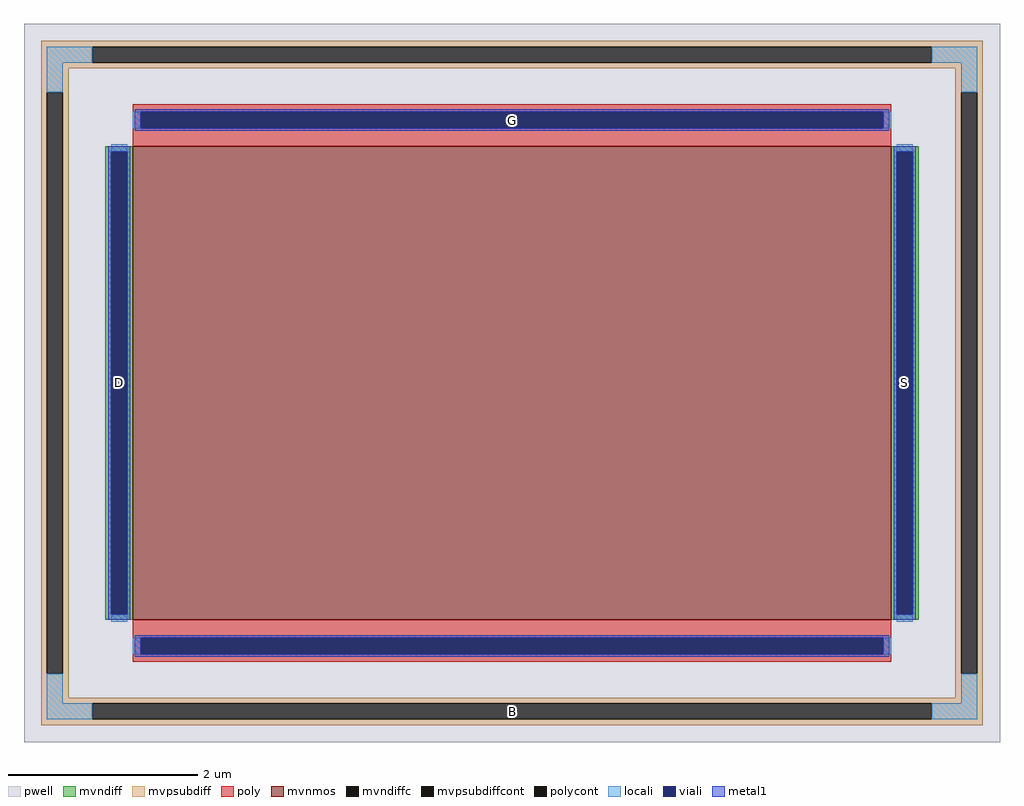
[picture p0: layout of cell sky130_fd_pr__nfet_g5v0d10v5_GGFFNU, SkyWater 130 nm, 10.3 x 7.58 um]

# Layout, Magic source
magic
tech sky130A
magscale 1 2
<< pwell >>
rect -1030 -758 1030 758
<< mvnmos >>
rect -800 -500 800 500
<< mvndiff >>
rect -858 488 -800 500
rect -858 -488 -846 488
rect -812 -488 -800 488
rect -858 -500 -800 -488
rect 800 488 858 500
rect 800 -488 812 488
rect 846 -488 858 488
rect 800 -500 858 -488
<< mvndiffc >>
rect -846 -488 -812 488
rect 812 -488 846 488
<< mvpsubdiff >>
rect -994 710 994 722
rect -994 676 -886 710
rect 886 676 994 710
rect -994 664 994 676
rect -994 614 -936 664
rect -994 -614 -982 614
rect -948 -614 -936 614
rect 936 614 994 664
rect -994 -664 -936 -614
rect 936 -614 948 614
rect 982 -614 994 614
rect 936 -664 994 -614
rect -994 -676 994 -664
rect -994 -710 -886 -676
rect 886 -710 994 -676
rect -994 -722 994 -710
<< mvpsubdiffcont >>
rect -886 676 886 710
rect -982 -614 -948 614
rect 948 -614 982 614
rect -886 -710 886 -676
<< poly >>
rect -800 572 800 588
rect -800 538 -784 572
rect 784 538 800 572
rect -800 500 800 538
rect -800 -538 800 -500
rect -800 -572 -784 -538
rect 784 -572 800 -538
rect -800 -588 800 -572
<< polycont >>
rect -784 538 784 572
rect -784 -572 784 -538
<< locali >>
rect -982 676 -886 710
rect 886 676 982 710
rect -982 614 -948 676
rect 948 614 982 676
rect -800 538 -784 572
rect 784 538 800 572
rect -846 488 -812 504
rect -846 -504 -812 -488
rect 812 488 846 504
rect 812 -504 846 -488
rect -800 -572 -784 -538
rect 784 -572 800 -538
rect -982 -676 -948 -614
rect 948 -676 982 -614
rect -982 -710 -886 -676
rect 886 -710 982 -676
<< viali >>
rect -784 538 784 572
rect -846 -488 -812 488
rect 812 -488 846 488
rect -784 -572 784 -538
<< metal1 >>
rect -796 572 796 578
rect -796 538 -784 572
rect 784 538 796 572
rect -796 532 796 538
rect -852 488 -806 500
rect -852 -488 -846 488
rect -812 -488 -806 488
rect -852 -500 -806 -488
rect 806 488 852 500
rect 806 -488 812 488
rect 846 -488 852 488
rect 806 -500 852 -488
rect -796 -538 796 -532
rect -796 -572 -784 -538
rect 784 -572 796 -538
rect -796 -578 796 -572
<< labels >>
rlabel mvpsubdiffcont 0 -693 0 -693 0 B
port 1 nsew
rlabel mvndiffc -829 0 -829 0 0 D
port 2 nsew
rlabel mvndiffc 829 0 829 0 0 S
port 3 nsew
rlabel polycont 0 555 0 555 0 G
port 4 nsew
<< properties >>
string FIXED_BBOX -965 -693 965 693
string gencell sky130_fd_pr__nfet_g5v0d10v5
string library sky130
string parameters w 5 l 8 m 1 nf 1 diffcov 100 polycov 100 guard 1 glc 1 grc 1 gtc 1 gbc 1 tbcov 100 rlcov 100 topc 1 botc 1 poverlap 0 doverlap 1 lmin 0.50 wmin 0.42 class mosfet compatible {sky130_fd_pr__nfet_01v8 sky130_fd_pr__nfet_01v8_lvt  sky130_fd_bs_flash__special_sonosfet_star  sky130_fd_pr__nfet_g5v0d10v5 sky130_fd_pr__nfet_05v0_nvt  sky130_fd_pr__nfet_03v3_nvt} full_metal 1 conn_gates 0 viasrc 100 viadrn 100 viagate 100 viagb 0 viagr 0 viagl 0 viagt 0 doports 1
<< end >>
